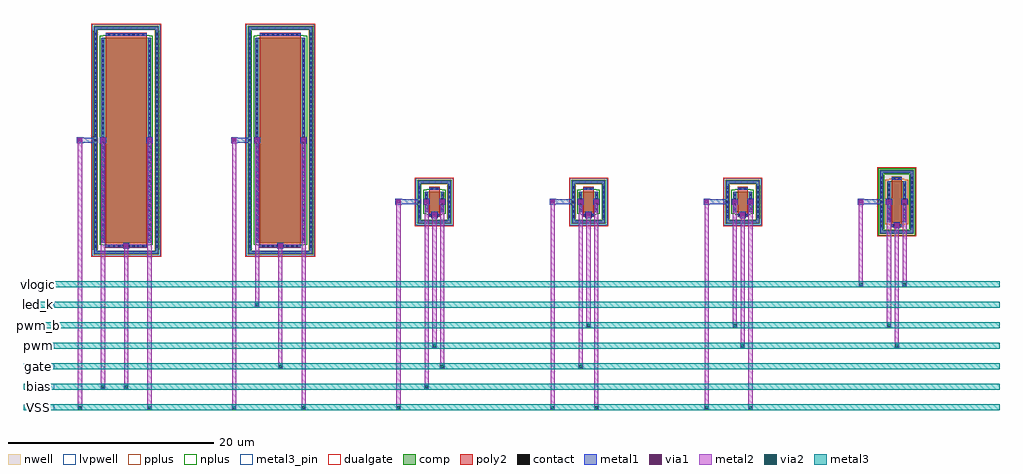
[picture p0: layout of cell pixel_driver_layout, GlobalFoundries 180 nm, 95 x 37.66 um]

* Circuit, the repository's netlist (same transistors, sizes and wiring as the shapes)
* NGSPICE file created from pixel_driver_layout.ext - technology: gf180mcuD

.subckt pixel_driver_layout VSS bias gate pwm pwm_b led_k vlogic
X0 VSS pwm_b gate VSS nfet_06v0 ad=0.88p pd=4.88u as=0.88p ps=4.88u w=2u l=1u
X1 vlogic pwm pwm_b vlogic pfet_06v0 ad=1.76p pd=8.88u as=1.76p ps=8.88u w=4u l=1u
X2 VSS gate led_k VSS nfet_06v0 ad=8.8p pd=40.88u as=8.8p ps=40.88u w=20u l=4u
X3 gate pwm bias VSS nfet_06v0 ad=0.88p pd=4.88u as=0.88p ps=4.88u w=2u l=1u
X4 VSS bias bias VSS nfet_06v0 ad=8.8p pd=40.88u as=8.8p ps=40.88u w=20u l=4u
X5 VSS pwm pwm_b VSS nfet_06v0 ad=0.88p pd=4.88u as=0.88p ps=4.88u w=2u l=1u
.ends

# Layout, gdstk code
import gdstk
lib = gdstk.Library(unit=1e-6, precision=1e-09)
def R(c, l, rs):  # rectangles x0, y0, x1, y1
    for r in rs: c.add(gdstk.rectangle(r[:2], r[2:], *l))
def A(c, l, x, y, w, h, nx, ny, dx, dy):  # array of equal rectangles
    R(c, l, [(x+i*dx, y+j*dy, x+i*dx+w, y+j*dy+h) for i in range(nx) for j in range(ny)])
nwell = (21, 0)
comp = (22, 0)
poly2 = (30, 0)
pplus = (31, 0)
nplus = (32, 0)
contact = (33, 0)
metal1 = (34, 0)
via1 = (35, 0)
metal2 = (36, 0)
via2 = (38, 0)
metal3 = (42, 0)
metal3_pin = (42, 10)
dualgate = (55, 0)
lvpwell = (204, 0)

pixel_driver_layout = lib.new_cell('pixel_driver_layout')
R(pixel_driver_layout, nwell, [(83.18,16.72,86.82,23.28)])
A(pixel_driver_layout, comp, 38.34, 17.88, 3.32, 0.36, 3, 2, 15, 3.88)
A(pixel_driver_layout, comp, 39.06, 19, 1.88, 2, 3, 1, 15, 0)
R(pixel_driver_layout, comp, [(6.84,14.88,13.16,15.24), (21.84,14.88,28.16,15.24), (6.84,15.24,7.2,36.76), (12.8,15.24,13.16,36.76), (21.84,15.24,22.2,36.76), (27.8,15.24,28.16,36.76), (7.56,16,12.44,36), (22.56,16,27.44,36), (83.34,16.88,86.66,17.24), (83.34,17.24,83.7,22.76), (86.3,17.24,86.66,22.76), (84.06,18,85.94,22), (38.34,18.24,38.7,21.76), (41.3,18.24,41.66,21.76), (53.34,18.24,53.7,21.76), (56.3,18.24,56.66,21.76), (68.34,18.24,68.7,21.76), (71.3,18.24,71.66,21.76), (83.34,22.76,86.66,23.12), (6.84,36.76,13.16,37.12), (21.84,36.76,28.16,37.12)])
A(pixel_driver_layout, poly2, 39.5, 18.54, 1, 2.92, 3, 1, 15, 0)
R(pixel_driver_layout, poly2, [(8,15.54,12,36.46), (23,15.54,27,36.46), (84.5,17.54,85.5,22.46)])
A(pixel_driver_layout, pplus, 38.32, 17.86, 3.36, 0.4, 3, 2, 15, 3.88)
R(pixel_driver_layout, pplus, [(6.82,14.86,13.18,15.26), (21.82,14.86,28.18,15.26), (6.82,15.26,7.23,15.365), (12.77,15.26,13.18,15.365), (21.82,15.26,22.23,15.365), (27.77,15.26,28.18,15.365), (6.81,15.365,7.23,36.635), (12.77,15.365,13.19,36.635), (21.81,15.365,22.23,36.635), (27.77,15.365,28.19,36.635), (84.27,17.77,85.73,17.84), (83.9,17.84,86.1,22.16), (38.32,18.26,38.73,18.365), (41.27,18.26,41.68,18.365), (53.32,18.26,53.73,18.365), (56.27,18.26,56.68,18.365), (68.32,18.26,68.73,18.365), (71.27,18.26,71.68,18.365), (38.31,18.365,38.73,21.635), (41.27,18.365,41.69,21.635), (53.31,18.365,53.73,21.635), (56.27,18.365,56.69,21.635), (68.31,18.365,68.73,21.635), (71.27,18.365,71.69,21.635), (38.32,21.635,38.73,21.74), (41.27,21.635,41.68,21.74), (53.32,21.635,53.73,21.74), (56.27,21.635,56.68,21.74), (68.32,21.635,68.73,21.74), (71.27,21.635,71.68,21.74), (84.27,22.16,85.73,22.23), (6.82,36.635,7.23,36.74), (12.77,36.635,13.18,36.74), (21.82,36.635,22.23,36.74), (27.77,36.635,28.18,36.74), (6.82,36.74,13.18,37.14), (21.82,36.74,28.18,37.14)])
A(pixel_driver_layout, nplus, 39.27, 18.77, 1.46, 0.07, 3, 2, 15, 2.39)
A(pixel_driver_layout, nplus, 38.9, 18.84, 2.2, 2.32, 3, 1, 15, 0)
R(pixel_driver_layout, nplus, [(7.77,15.77,12.23,15.84), (22.77,15.77,27.23,15.84), (7.4,15.84,12.6,36.16), (22.4,15.84,27.6,36.16), (83.18,16.72,86.82,17.31), (83.18,17.31,83.77,22.69), (86.23,17.31,86.82,22.69), (83.18,22.69,86.82,23.28), (7.77,36.16,12.23,36.23), (22.77,36.16,27.23,36.23)])
A(pixel_driver_layout, contact, 6.91, 15.55, 0.22, 0.22, 1, 45, 0, 0.47)
A(pixel_driver_layout, contact, 12.87, 15.55, 0.22, 0.22, 1, 45, 0, 0.47)
A(pixel_driver_layout, contact, 21.91, 15.55, 0.22, 0.22, 1, 45, 0, 0.47)
A(pixel_driver_layout, contact, 27.87, 15.55, 0.22, 0.22, 1, 45, 0, 0.47)
A(pixel_driver_layout, contact, 8.245, 15.61, 0.22, 0.22, 8, 2, 0.47, 20.56)
A(pixel_driver_layout, contact, 23.245, 15.61, 0.22, 0.22, 8, 2, 0.47, 20.56)
A(pixel_driver_layout, contact, 7.63, 16.255, 0.22, 0.22, 1, 42, 0, 0.47)
A(pixel_driver_layout, contact, 12.15, 16.255, 0.22, 0.22, 1, 42, 0, 0.47)
A(pixel_driver_layout, contact, 22.63, 16.255, 0.22, 0.22, 1, 42, 0, 0.47)
A(pixel_driver_layout, contact, 27.15, 16.255, 0.22, 0.22, 1, 42, 0, 0.47)
A(pixel_driver_layout, contact, 83.41, 17.54, 0.22, 0.22, 1, 11, 0, 0.47)
A(pixel_driver_layout, contact, 86.37, 17.54, 0.22, 0.22, 1, 11, 0, 0.47)
A(pixel_driver_layout, contact, 84.13, 18.245, 0.22, 0.22, 1, 8, 0, 0.47)
A(pixel_driver_layout, contact, 85.65, 18.245, 0.22, 0.22, 1, 8, 0, 0.47)
A(pixel_driver_layout, contact, 38.41, 18.48, 0.22, 0.22, 1, 7, 0, 0.47)
A(pixel_driver_layout, contact, 41.37, 18.48, 0.22, 0.22, 1, 7, 0, 0.47)
A(pixel_driver_layout, contact, 53.41, 18.48, 0.22, 0.22, 1, 7, 0, 0.47)
A(pixel_driver_layout, contact, 56.37, 18.48, 0.22, 0.22, 1, 7, 0, 0.47)
A(pixel_driver_layout, contact, 68.41, 18.48, 0.22, 0.22, 1, 7, 0, 0.47)
A(pixel_driver_layout, contact, 71.37, 18.48, 0.22, 0.22, 1, 7, 0, 0.47)
A(pixel_driver_layout, contact, 39.13, 19.185, 0.22, 0.22, 1, 4, 0, 0.47)
A(pixel_driver_layout, contact, 40.65, 19.185, 0.22, 0.22, 1, 4, 0, 0.47)
A(pixel_driver_layout, contact, 54.13, 19.185, 0.22, 0.22, 1, 4, 0, 0.47)
A(pixel_driver_layout, contact, 55.65, 19.185, 0.22, 0.22, 1, 4, 0, 0.47)
A(pixel_driver_layout, contact, 69.13, 19.185, 0.22, 0.22, 1, 4, 0, 0.47)
A(pixel_driver_layout, contact, 70.65, 19.185, 0.22, 0.22, 1, 4, 0, 0.47)
R(pixel_driver_layout, contact, [(84.655,17.61,84.875,17.83), (85.125,17.61,85.345,17.83), (39.655,18.61,39.875,18.83), (40.125,18.61,40.345,18.83), (54.655,18.61,54.875,18.83), (55.125,18.61,55.345,18.83), (69.655,18.61,69.875,18.83), (70.125,18.61,70.345,18.83), (39.655,21.17,39.875,21.39), (40.125,21.17,40.345,21.39), (54.655,21.17,54.875,21.39), (55.125,21.17,55.345,21.39), (69.655,21.17,69.875,21.39), (70.125,21.17,70.345,21.39), (84.655,22.17,84.875,22.39), (85.125,22.17,85.345,22.39)])
A(pixel_driver_layout, metal1, 38.405, 17.945, 3.19, 0.23, 3, 2, 15, 3.88)
A(pixel_driver_layout, metal1, 38.405, 18.175, 0.23, 1.575, 3, 2, 15, 2.075)
A(pixel_driver_layout, metal1, 41.365, 18.175, 0.23, 3.65, 3, 1, 15, 0)
A(pixel_driver_layout, metal1, 39.7, 18.42, 0.6, 0.185, 3, 2, 15, 0.415)
A(pixel_driver_layout, metal1, 39.51, 18.605, 0.98, 0.23, 3, 2, 15, 2.56)
A(pixel_driver_layout, metal1, 36.2, 19.7, 0.6, 0.05, 4, 2, 15, 0.55)
A(pixel_driver_layout, metal1, 36.2, 19.75, 2.47, 0.5, 4, 1, 15, 0)
R(pixel_driver_layout, metal1, [(6.905,14.945,13.095,15.175), (21.905,14.945,28.095,15.175), (6.905,15.175,7.135,25.75), (12.865,15.175,13.095,36.825), (21.905,15.175,22.135,25.75), (27.865,15.175,28.095,36.825), (9.7,15.42,10.3,15.605), (24.7,15.42,25.3,15.605), (8.01,15.605,11.99,15.835), (23.01,15.605,26.99,15.835), (9.7,15.835,10.3,16.02), (24.7,15.835,25.3,16.02), (7.625,16.01,7.855,25.7), (12.145,16.01,12.375,25.7), (22.625,16.01,22.855,25.7), (27.145,16.01,27.375,25.7), (83.405,16.945,86.595,17.175), (83.405,17.175,83.635,19.75), (86.365,17.175,86.595,22.825), (84.7,17.42,85.3,17.605), (84.51,17.605,85.49,17.835), (84.7,17.835,85.3,18.02), (84.125,18.01,84.355,19.7), (85.645,18.01,85.875,19.7), (39.125,19.01,39.355,19.7), (40.645,19.01,40.875,19.7), (54.125,19.01,54.355,19.7), (55.645,19.01,55.875,19.7), (69.125,19.01,69.355,19.7), (70.645,19.01,70.875,19.7), (38.94,19.7,39.54,20.3), (40.46,19.7,41.06,20.3), (53.94,19.7,54.54,20.3), (55.46,19.7,56.06,20.3), (68.94,19.7,69.54,20.3), (70.46,19.7,71.06,20.3), (83.94,19.7,84.54,20.3), (85.46,19.7,86.06,20.3), (83.405,20.25,83.635,22.825), (39.125,20.3,39.355,20.99), (40.645,20.3,40.875,20.99), (54.125,20.3,54.355,20.99), (55.645,20.3,55.875,20.99), (69.125,20.3,69.355,20.99), (70.645,20.3,70.875,20.99), (84.125,20.3,84.355,21.99), (85.645,20.3,85.875,21.99), (84.51,22.165,85.49,22.395), (83.405,22.825,86.595,23.055), (5.2,25.7,5.8,25.75), (7.44,25.7,8.04,26.3), (11.96,25.7,12.56,26.3), (20.2,25.7,20.8,25.75), (22.44,25.7,23.04,26.3), (26.96,25.7,27.56,26.3), (5.2,25.75,7.17,26.25), (20.2,25.75,22.17,26.25), (5.2,26.25,5.8,26.3), (6.905,26.25,7.135,36.825), (20.2,26.25,20.8,26.3), (21.905,26.25,22.135,36.825), (7.625,26.3,7.855,35.99), (12.145,26.3,12.375,35.99), (22.625,26.3,22.855,35.99), (27.145,26.3,27.375,35.99), (8.01,36.165,11.99,36.395), (23.01,36.165,26.99,36.395), (6.905,36.825,13.095,37.055), (21.905,36.825,28.095,37.055)])
A(pixel_driver_layout, via1, 39.87, 18.59, 0.26, 0.26, 3, 1, 15, 0)
R(pixel_driver_layout, via1, [(9.87,15.59,10.13,15.85), (24.87,15.59,25.13,15.85), (84.87,17.59,85.13,17.85), (36.37,19.87,36.63,20.13), (39.11,19.87,39.37,20.13), (40.63,19.87,40.89,20.13), (51.37,19.87,51.63,20.13), (54.11,19.87,54.37,20.13), (55.63,19.87,55.89,20.13), (66.37,19.87,66.63,20.13), (69.11,19.87,69.37,20.13), (70.63,19.87,70.89,20.13), (81.37,19.87,81.63,20.13), (84.11,19.87,84.37,20.13), (85.63,19.87,85.89,20.13), (5.37,25.87,5.63,26.13), (7.61,25.87,7.87,26.13), (12.13,25.87,12.39,26.13), (20.37,25.87,20.63,26.13), (22.61,25.87,22.87,26.13), (27.13,25.87,27.39,26.13)])
A(pixel_driver_layout, metal2, 39.78, 18.5, 0.44, 0.44, 3, 1, 15, 0)
R(pixel_driver_layout, metal2, [(5.28,-0.22,5.72,0.22), (12.04,-0.22,12.48,0.22), (20.28,-0.22,20.72,0.22), (27.04,-0.22,27.48,0.22), (36.28,-0.22,36.72,0.22), (51.28,-0.22,51.72,0.22), (55.54,-0.22,55.98,0.22), (66.28,-0.22,66.72,0.22), (70.54,-0.22,70.98,0.22), (5.3,0.22,5.7,25.78), (12.06,0.22,12.46,25.78), (20.3,0.22,20.7,25.78), (27.06,0.22,27.46,25.78), (36.3,0.22,36.7,19.78), (51.3,0.22,51.7,19.78), (55.56,0.22,55.96,19.78), (66.3,0.22,66.7,19.78), (70.56,0.22,70.96,19.78), (7.52,1.78,7.96,2.22), (9.78,1.78,10.22,2.22), (39.02,1.78,39.46,2.22), (7.54,2.22,7.94,25.78), (9.8,2.22,10.2,15.5), (39.04,2.22,39.44,19.78), (24.78,3.78,25.22,4.22), (40.54,3.78,40.98,4.22), (54.02,3.78,54.46,4.22), (24.8,4.22,25.2,15.5), (40.56,4.22,40.96,19.78), (54.04,4.22,54.44,19.78), (39.78,5.78,40.22,6.22), (69.78,5.78,70.22,6.22), (84.78,5.78,85.22,6.22), (39.8,6.22,40.2,18.5), (69.8,6.22,70.2,18.5), (84.8,6.22,85.2,17.5), (54.78,7.78,55.22,8.22), (69.02,7.78,69.46,8.22), (84.02,7.78,84.46,8.22), (54.8,8.22,55.2,18.5), (69.04,8.22,69.44,19.78), (84.04,8.22,84.44,19.78), (22.52,9.78,22.96,10.22), (22.54,10.22,22.94,25.78), (81.28,11.78,81.72,12.22), (85.54,11.78,85.98,12.22), (81.3,12.22,81.7,19.78), (85.56,12.22,85.96,19.78), (9.78,15.5,10.22,15.94), (24.78,15.5,25.22,15.94), (84.78,17.5,85.22,17.94), (36.28,19.78,36.72,20.22), (39.02,19.78,39.46,20.22), (40.54,19.78,40.98,20.22), (51.28,19.78,51.72,20.22), (54.02,19.78,54.46,20.22), (55.54,19.78,55.98,20.22), (66.28,19.78,66.72,20.22), (69.02,19.78,69.46,20.22), (70.54,19.78,70.98,20.22), (81.28,19.78,81.72,20.22), (84.02,19.78,84.46,20.22), (85.54,19.78,85.98,20.22), (5.28,25.78,5.72,26.22), (7.52,25.78,7.96,26.22), (12.04,25.78,12.48,26.22), (20.28,25.78,20.72,26.22), (22.52,25.78,22.96,26.22), (27.04,25.78,27.48,26.22)])
R(pixel_driver_layout, via2, [(5.37,-0.13,5.63,0.13), (12.13,-0.13,12.39,0.13), (20.37,-0.13,20.63,0.13), (27.13,-0.13,27.39,0.13), (36.37,-0.13,36.63,0.13), (51.37,-0.13,51.63,0.13), (55.63,-0.13,55.89,0.13), (66.37,-0.13,66.63,0.13), (70.63,-0.13,70.89,0.13), (7.61,1.87,7.87,2.13), (9.87,1.87,10.13,2.13), (39.11,1.87,39.37,2.13), (24.87,3.87,25.13,4.13), (40.63,3.87,40.89,4.13), (54.11,3.87,54.37,4.13), (39.87,5.87,40.13,6.13), (69.87,5.87,70.13,6.13), (84.87,5.87,85.13,6.13), (54.87,7.87,55.13,8.13), (69.11,7.87,69.37,8.13), (84.11,7.87,84.37,8.13), (22.61,9.87,22.87,10.13), (81.37,11.87,81.63,12.13), (85.63,11.87,85.89,12.13)])
A(pixel_driver_layout, metal3, 0, -0.3, 95, 0.6, 1, 7, 0, 2)
A(pixel_driver_layout, metal3_pin, 0, -0.3, 3, 0.6, 1, 7, 0, 2)
A(pixel_driver_layout, dualgate, 38.1, 17.64, 3.8, 4.72, 3, 1, 15, 0)
R(pixel_driver_layout, dualgate, [(6.6,14.64,13.4,37.36), (21.6,14.64,28.4,37.36), (83.1,16.64,86.9,23.36)])
A(pixel_driver_layout, lvpwell, 38.18, 17.72, 3.64, 4.56, 3, 1, 15, 0)
R(pixel_driver_layout, lvpwell, [(6.68,14.72,13.32,37.28), (21.68,14.72,28.32,37.28)])
pixel_driver_layout.add(gdstk.Label('VSS', (1.5,0), layer=42, texttype=10))
pixel_driver_layout.add(gdstk.Label('bias', (1.5,2), layer=42, texttype=10))
pixel_driver_layout.add(gdstk.Label('gate', (1.5,4), layer=42, texttype=10))
pixel_driver_layout.add(gdstk.Label('pwm', (1.5,6), layer=42, texttype=10))
pixel_driver_layout.add(gdstk.Label('pwm_b', (1.5,8), layer=42, texttype=10))
pixel_driver_layout.add(gdstk.Label('led_k', (1.5,10), layer=42, texttype=10))
pixel_driver_layout.add(gdstk.Label('vlogic', (1.5,12), layer=42, texttype=10))

lib.write_gds('pixel_driver_layout.gds')
